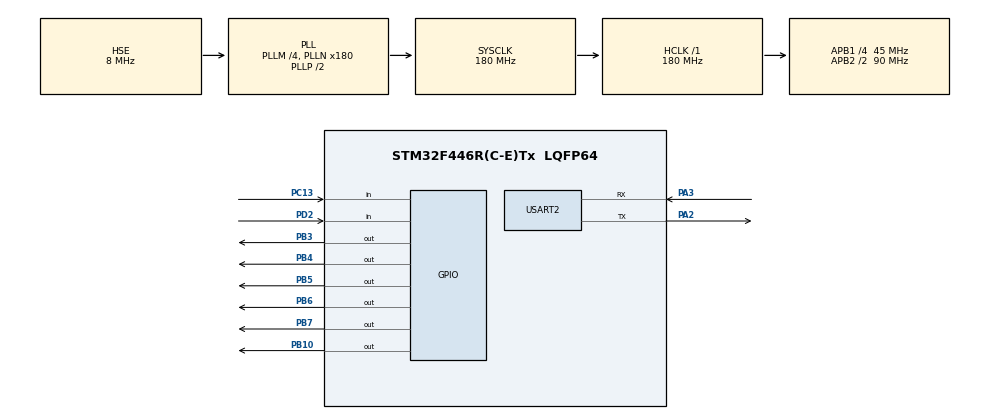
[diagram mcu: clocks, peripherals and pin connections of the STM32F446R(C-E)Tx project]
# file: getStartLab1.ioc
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FREERTOS.Events01=ButtonPressed,Dynamic,NULL;myEvent02,Dynamic,NULL
FREERTOS.Tasks01=Green,24,128,GreenLight,Default,NULL,Dynamic,NULL,NULL;Orange,24,128,OrangeLight,Default,NULL,Dynamic,NULL,NULL;Red,24,128,RedLight,Default,NULL,Dynamic,NULL,NULL;Task4,24,128,GreenPieton,Default,NULL,Dynamic,NULL,NULL;Task5,24,128,RedPieton,Default,NULL,Dynamic,NULL,NULL;Task6,24,128,Button,Default,NULL,Dynamic,NULL,NULL
FREERTOS.configUSE_NEWLIB_REENTRANT=1
Mcu.Family=STM32F4
Mcu.Name=STM32F446R(C-E)Tx
Mcu.Package=LQFP64
NVIC.PriorityGroup=NVIC_PRIORITYGROUP_4
NVIC.TIM6_DAC_IRQn=true\:15\:0\:false\:false\:true\:false\:false\:true\:true
NVIC.TimeBase=TIM6_DAC_IRQn
NVIC.TimeBaseIP=TIM6
PA13.Mode=Serial_Wire
PA13.Signal=SYS_JTMS-SWDIO
PA14.Mode=Serial_Wire
PA14.Signal=SYS_JTCK-SWCLK
PA2.Mode=Asynchronous
PA2.Signal=USART2_TX
PA3.Mode=Asynchronous
PA3.Signal=USART2_RX
PB10.Signal=GPIO_Output
PB3.Signal=GPIO_Output
PB4.Signal=GPIO_Output
PB5.Signal=GPIO_Output
PB6.Signal=GPIO_Output
PB7.Signal=GPIO_Output
PC13.Signal=GPIO_Input
PD2.Signal=GPIO_Input
PH0-OSC_IN.Mode=HSE-External-Oscillator
PH0-OSC_IN.Signal=RCC_OSC_IN
PH1-OSC_OUT.Mode=HSE-External-Oscillator
PH1-OSC_OUT.Signal=RCC_OSC_OUT
ProjectManager.HeapSize=0x200
ProjectManager.StackSize=0x400
ProjectManager.TargetToolchain=STM32CubeIDE
RCC.48MHZClocksFreq_Value=84000000
RCC.AHBFreq_Value=180000000
RCC.APB1CLKDivider=RCC_HCLK_DIV4
RCC.APB1Freq_Value=45000000
RCC.APB1TimFreq_Value=90000000
RCC.APB2CLKDivider=RCC_HCLK_DIV2
RCC.APB2Freq_Value=90000000
RCC.APB2TimFreq_Value=180000000
RCC.CortexFreq_Value=180000000
RCC.FLatency-AdvancedSettings=FLASH_LATENCY_5
RCC.HCLKFreq_Value=180000000
RCC.HSE_VALUE=8000000
RCC.HSI_VALUE=16000000
RCC.PLLM=4
RCC.PLLN=180
RCC.PLLSourceVirtual=RCC_PLLSOURCE_HSE
RCC.SYSCLKFreq_VALUE=180000000
RCC.SYSCLKSource=RCC_SYSCLKSOURCE_PLLCLK
RCC.USBFreq_Value=180000000
RCC.VCOOutputFreq_Value=360000000
USART2.VirtualMode=VM_ASYNC
VP_FREERTOS_VS_CMSIS_V2.Mode=CMSIS_V2
VP_SYS_VS_tim6.Mode=TIM6
board=NUCLEO-F446RE

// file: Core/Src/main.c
/* USER CODE BEGIN Header */
/**
  ******************************************************************************
  * @file           : main.c
  * @brief          : Main program body
  ******************************************************************************
  * @attention
  *
  * Copyright (c) 2024 STMicroelectronics.
  * All rights reserved.
  *
  * This software is licensed under terms that can be found in the LICENSE file
  * in the root directory of this software component.
  * If no LICENSE file comes with this software, it is provided AS-IS.
  *
  ******************************************************************************
  */
/* USER CODE END Header */
#include "main.h"
#include "cmsis_os.h"

UART_HandleTypeDef huart2;

/* Definitions for Green */
osThreadId_t GreenHandle;
const osThreadAttr_t Green_attributes = {
  .name = "Green",
  .stack_size = 128 * 4,
  .priority = (osPriority_t) osPriorityNormal,
};
/* Definitions for Orange */
osThreadId_t OrangeHandle;
const osThreadAttr_t Orange_attributes = {
  .name = "Orange",
  .stack_size = 128 * 4,
  .priority = (osPriority_t) osPriorityNormal,
};
/* Definitions for Red */
osThreadId_t RedHandle;
const osThreadAttr_t Red_attributes = {
  .name = "Red",
  .stack_size = 128 * 4,
  .priority = (osPriority_t) osPriorityNormal,
};
/* Definitions for Task4 */
osThreadId_t Task4Handle;
const osThreadAttr_t Task4_attributes = {
  .name = "Task4",
  .stack_size = 128 * 4,
  .priority = (osPriority_t) osPriorityNormal,
};
/* Definitions for Task5 */
osThreadId_t Task5Handle;
const osThreadAttr_t Task5_attributes = {
  .name = "Task5",
  .stack_size = 128 * 4,
  .priority = (osPriority_t) osPriorityNormal,
};
/* Definitions for Task6 */
osThreadId_t Task6Handle;
const osThreadAttr_t Task6_attributes = {
  .name = "Task6",
  .stack_size = 128 * 4,
  .priority = (osPriority_t) osPriorityNormal,
};
/* Definitions for ButtonPressed */
osEventFlagsId_t ButtonPressedHandle;
const osEventFlagsAttr_t ButtonPressed_attributes = {
  .name = "ButtonPressed"
};
/* Definitions for CanButtonPress */
osEventFlagsId_t CanButtonPressHandle;
const osEventFlagsAttr_t CanButtonPress_attributes = {
  .name = "CanButtonPress"
};

void SystemClock_Config(void);
static void MX_GPIO_Init(void);
static void MX_USART2_UART_Init(void);
void GreenLight(void *argument);
void OrangeLight(void *argument);
void RedLight(void *argument);
void GreenPieton(void *argument);
void RedPieton(void *argument);
void Button(void *argument);

/* USER CODE BEGIN 0 */
volatile int flag = 0;

/* USER CODE END 0 */

int main(void)
{

  /* MCU Configuration--------------------------------------------------------*/

  /* Reset of all peripherals, Initializes the Flash interface and the Systick. */
  HAL_Init();

  /* Configure the system clock */
  SystemClock_Config();

  /* Initialize all configured peripherals */
  MX_GPIO_Init();
  MX_USART2_UART_Init();

  /* Init scheduler */
  osKernelInitialize();

  /* Create the thread(s) */
  /* creation of Green */
  GreenHandle = osThreadNew(GreenLight, NULL, &Green_attributes);

  /* creation of Orange */
  OrangeHandle = osThreadNew(OrangeLight, NULL, &Orange_attributes);

  /* creation of Red */
  RedHandle = osThreadNew(RedLight, NULL, &Red_attributes);

  /* creation of Task4 */
  Task4Handle = osThreadNew(GreenPieton, NULL, &Task4_attributes);

  /* creation of Task5 */
  Task5Handle = osThreadNew(RedPieton, NULL, &Task5_attributes);

  /* creation of Task6 */
  Task6Handle = osThreadNew(Button, NULL, &Task6_attributes);

  /* Create the event(s) */
  /* creation of ButtonPressed */
  ButtonPressedHandle = osEventFlagsNew(&ButtonPressed_attributes);

  /* creation of CanButtonPress */
  CanButtonPressHandle = osEventFlagsNew(&CanButtonPress_attributes);

  /* Start scheduler */
  osKernelStart();

  /* We should never get here as control is now taken by the scheduler */
  /* Infinite loop */
  while (1)
  {

  }
}

void SystemClock_Config(void)
{
  RCC_OscInitTypeDef RCC_OscInitStruct = {0};
  RCC_ClkInitTypeDef RCC_ClkInitStruct = {0};

  /** Configure the main internal regulator output voltage
  */
  __HAL_RCC_PWR_CLK_ENABLE();
  __HAL_PWR_VOLTAGESCALING_CONFIG(PWR_REGULATOR_VOLTAGE_SCALE1);

  /** Initializes the RCC Oscillators according to the specified parameters
  * in the RCC_OscInitTypeDef structure.
  */
  RCC_OscInitStruct.OscillatorType = RCC_OSCILLATORTYPE_HSE;
  RCC_OscInitStruct.HSEState = RCC_HSE_ON;
  RCC_OscInitStruct.PLL.PLLState = RCC_PLL_ON;
  RCC_OscInitStruct.PLL.PLLSource = RCC_PLLSOURCE_HSE;
  RCC_OscInitStruct.PLL.PLLM = 4;
  RCC_OscInitStruct.PLL.PLLN = 180;
  RCC_OscInitStruct.PLL.PLLP = RCC_PLLP_DIV2;
  RCC_OscInitStruct.PLL.PLLQ = 2;
  RCC_OscInitStruct.PLL.PLLR = 2;
  if (HAL_RCC_OscConfig(&RCC_OscInitStruct) != HAL_OK)
  {
    Error_Handler();
  }

  /** Activate the Over-Drive mode
  */
  if (HAL_PWREx_EnableOverDrive() != HAL_OK)
  {
    Error_Handler();
  }

  /** Initializes the CPU, AHB and APB buses clocks
  */
  RCC_ClkInitStruct.ClockType = RCC_CLOCKTYPE_HCLK|RCC_CLOCKTYPE_SYSCLK
                              |RCC_CLOCKTYPE_PCLK1|RCC_CLOCKTYPE_PCLK2;
  RCC_ClkInitStruct.SYSCLKSource = RCC_SYSCLKSOURCE_PLLCLK;
  RCC_ClkInitStruct.AHBCLKDivider = RCC_SYSCLK_DIV1;
  RCC_ClkInitStruct.APB1CLKDivider = RCC_HCLK_DIV4;
  RCC_ClkInitStruct.APB2CLKDivider = RCC_HCLK_DIV2;

  if (HAL_RCC_ClockConfig(&RCC_ClkInitStruct, FLASH_LATENCY_5) != HAL_OK)
  {
    Error_Handler();
  }
}

static void MX_USART2_UART_Init(void)
{

  huart2.Instance = USART2;
  huart2.Init.BaudRate = 115200;
  huart2.Init.WordLength = UART_WORDLENGTH_8B;
  huart2.Init.StopBits = UART_STOPBITS_1;
  huart2.Init.Parity = UART_PARITY_NONE;
  huart2.Init.Mode = UART_MODE_TX_RX;
  huart2.Init.HwFlowCtl = UART_HWCONTROL_NONE;
  huart2.Init.OverSampling = UART_OVERSAMPLING_16;
  if (HAL_UART_Init(&huart2) != HAL_OK)
  {
    Error_Handler();
  }

}

static void MX_GPIO_Init(void)
{
  GPIO_InitTypeDef GPIO_InitStruct = {0};

  /* GPIO Ports Clock Enable */
  __HAL_RCC_GPIOC_CLK_ENABLE();
  __HAL_RCC_GPIOH_CLK_ENABLE();
  __HAL_RCC_GPIOA_CLK_ENABLE();
  __HAL_RCC_GPIOB_CLK_ENABLE();
  __HAL_RCC_GPIOD_CLK_ENABLE();

  /*Configure GPIO pin Output Level */
  HAL_GPIO_WritePin(GPIOB, GPIO_PIN_10|GPIO_PIN_3|GPIO_PIN_4|GPIO_PIN_5
                          |GPIO_PIN_6|GPIO_PIN_7, GPIO_PIN_RESET);

  /*Configure GPIO pin : PC13 */
  GPIO_InitStruct.Pin = GPIO_PIN_13;
  GPIO_InitStruct.Mode = GPIO_MODE_INPUT;
  GPIO_InitStruct.Pull = GPIO_NOPULL;
  HAL_GPIO_Init(GPIOC, &GPIO_InitStruct);

  /*Configure GPIO pins : PB10 PB3 PB4 PB5
                           PB6 PB7 */
  GPIO_InitStruct.Pin = GPIO_PIN_10|GPIO_PIN_3|GPIO_PIN_4|GPIO_PIN_5
                          |GPIO_PIN_6|GPIO_PIN_7;
  GPIO_InitStruct.Mode = GPIO_MODE_OUTPUT_PP;
  GPIO_InitStruct.Pull = GPIO_NOPULL;
  GPIO_InitStruct.Speed = GPIO_SPEED_FREQ_LOW;
  HAL_GPIO_Init(GPIOB, &GPIO_InitStruct);

  /*Configure GPIO pin : PD2 */
  GPIO_InitStruct.Pin = GPIO_PIN_2;
  GPIO_InitStruct.Mode = GPIO_MODE_INPUT;
  GPIO_InitStruct.Pull = GPIO_NOPULL;
  HAL_GPIO_Init(GPIOD, &GPIO_InitStruct);

}

void GreenLight(void *argument)
{
  /* USER CODE BEGIN 5 */
  /* Infinite loop */
  for(;;)
  {
      if(osEventFlagsWait(ButtonPressedHandle, 0x0001, osFlagsWaitAny, 0) == 0x0001)
      {
    	  HAL_GPIO_WritePin(GPIOB, GPIO_PIN_3, GPIO_PIN_RESET);
    	  osDelay(5000);
      }
      else {
    	  osDelay(12000);
    	  HAL_GPIO_WritePin(GPIOB, GPIO_PIN_3, GPIO_PIN_SET);
    	  osEventFlagsSet(CanButtonPress, 0x0001);
          for(int j = 0; j < 100; j++) {
              if(osEventFlagsWait(ButtonPressedHandle, 0x0001, osFlagsWaitAny, 0) == 0x0001) break;
              osDelay(100); // Break down 13000 ms delay into smaller parts
          }
          HAL_GPIO_WritePin(GPIOB, GPIO_PIN_3, GPIO_PIN_RESET);
          osDelay(3000);
      }
  }
  /* USER CODE END 5 */
}

void OrangeLight(void *argument)
{
  /* USER CODE BEGIN OrangeLight */
  /* Infinite loop */
  for(;;)
  {
      if(osEventFlagsWait(ButtonPressedHandle, 0x0001, osFlagsWaitAny, 0) == 0x0001)
      {
    	  HAL_GPIO_WritePin(GPIOB, GPIO_PIN_4, GPIO_PIN_SET);
    	  osDelay(3000);
    	  HAL_GPIO_WritePin(GPIOB, GPIO_PIN_4, GPIO_PIN_RESET);
    	  osDelay(12000);
    	  HAL_GPIO_WritePin(GPIOB, GPIO_PIN_4, GPIO_PIN_SET);
    	  osDelay(2000);
    	  HAL_GPIO_WritePin(GPIOB, GPIO_PIN_4, GPIO_PIN_RESET);
      } else {
    	  osDelay(10000);
    	  HAL_GPIO_WritePin(GPIOB, GPIO_PIN_4, GPIO_PIN_SET);
    	  osDelay(2000);
    	  HAL_GPIO_WritePin(GPIOB, GPIO_PIN_4, GPIO_PIN_RESET);
          for(int j = 0; j < 100; j++) {
              if(osEventFlagsWait(ButtonPressedHandle, 0x0001, osFlagsWaitAny, 0) == 0x0001) break;
              osDelay(100); // Break down 13000 ms delay into smaller parts
          }
    	  HAL_GPIO_WritePin(GPIOB, GPIO_PIN_4, GPIO_PIN_SET);
    	  osDelay(3000);
    	  HAL_GPIO_WritePin(GPIOB, GPIO_PIN_4, GPIO_PIN_RESET);
      }
  }
  /* USER CODE END OrangeLight */
}

void RedLight(void *argument)
{
  /* USER CODE BEGIN RedLight */
  /* Infinite loop */
  for(;;)
  {
      if(osEventFlagsWait(ButtonPressedHandle, 0x0001, osFlagsWaitAny, 0) == 0x0001)
      {
    	  osDelay(3000);
    	  HAL_GPIO_WritePin(GPIOB, GPIO_PIN_5, GPIO_PIN_SET);
    	  osDelay(2000);

      } else {
    	  HAL_GPIO_WritePin(GPIOB, GPIO_PIN_5, GPIO_PIN_SET);
    	  osDelay(12000);
    	  HAL_GPIO_WritePin(GPIOB, GPIO_PIN_5, GPIO_PIN_RESET);
          for(int j = 0; j < 100; j++) {
              if(osEventFlagsWait(ButtonPressedHandle, 0x0001, osFlagsWaitAny, 0) == 0x0001) break;
              osDelay(100); // Break down 13000 ms delay into smaller parts
          }
    	  osDelay(3000);
      }

  }
  /* USER CODE END RedLight */
}

void GreenPieton(void *argument)
{
  /* USER CODE BEGIN GreenPieton */
  /* Infinite loop */
  for(;;)
  {
      if(osEventFlagsWait(ButtonPressedHandle, 0x0001, osFlagsWaitAny, 0) == 0x0001)
      {
    	  osDelay(4000);
    	  HAL_GPIO_WritePin(GPIOB, GPIO_PIN_6, GPIO_PIN_SET);
    	  osDelay(10000);
    	  HAL_GPIO_WritePin(GPIOB, GPIO_PIN_6, GPIO_PIN_RESET);
      }
      else
      {
          // If the button is not pressed, keep the LED on
          HAL_GPIO_WritePin(GPIOB, GPIO_PIN_6, GPIO_PIN_RESET);
          osDelay(100); // Small delay to prevent tight looping
      }
  }
  /* USER CODE END GreenPieton */
}

void RedPieton(void *argument)
{
  /* USER CODE BEGIN RedPieton */
  /* Infinite loop */
  for(;;)
  {
      if(osEventFlagsWait(ButtonPressedHandle, 0x0001, osFlagsWaitAny, 0) == 0x0001)
      {
    	  osDelay(4000);
    	  HAL_GPIO_WritePin(GPIOB, GPIO_PIN_6, GPIO_PIN_RESET);
    	  osDelay(10000);
    	  HAL_GPIO_WritePin(GPIOB, GPIO_PIN_6, GPIO_PIN_SET);
      }
      else
      {
          // If the button is not pressed, keep the LED on
          HAL_GPIO_WritePin(GPIOB, GPIO_PIN_6, GPIO_PIN_SET);
          osDelay(100); // Small delay to prevent tight looping
      }

  }
  /* USER CODE END RedPieton */
}

void Button(void *argument)
{
  /* USER CODE BEGIN Button */
  /* Infinite loop */
  for(;;)
  {
	  // Button pressed, set the event flag
	  if(HAL_GPIO_ReadPin(GPIOC, GPIO_PIN_13) == GPIO_PIN_SET) {
		  osEventFlagsSet(ButtonPressedHandle, 0x0001);

	      osDelay(50); // Debounce delay
	      if(HAL_GPIO_ReadPin(GPIOC, GPIO_PIN_13) == GPIO_PIN_SET) // Check button state again
	      {
	        osEventFlagsSet(ButtonPressedHandle, 0x0001); // Set flag if still pressed
	      }
	  }
	  if(osEventFlagsWait(CanButtonPressHandle, 0x0001, osFlagsWaitAny, 0) == 0x0001) {
		  osDelay(1000);
	  }
	  osDelay(10);
  }
  /* USER CODE END Button */
}

void HAL_TIM_PeriodElapsedCallback(TIM_HandleTypeDef *htim)
{
  if (htim->Instance == TIM6) {
    HAL_IncTick();
  }
}

void Error_Handler(void)
{
  __disable_irq();
  while (1)
  {
  }
}
